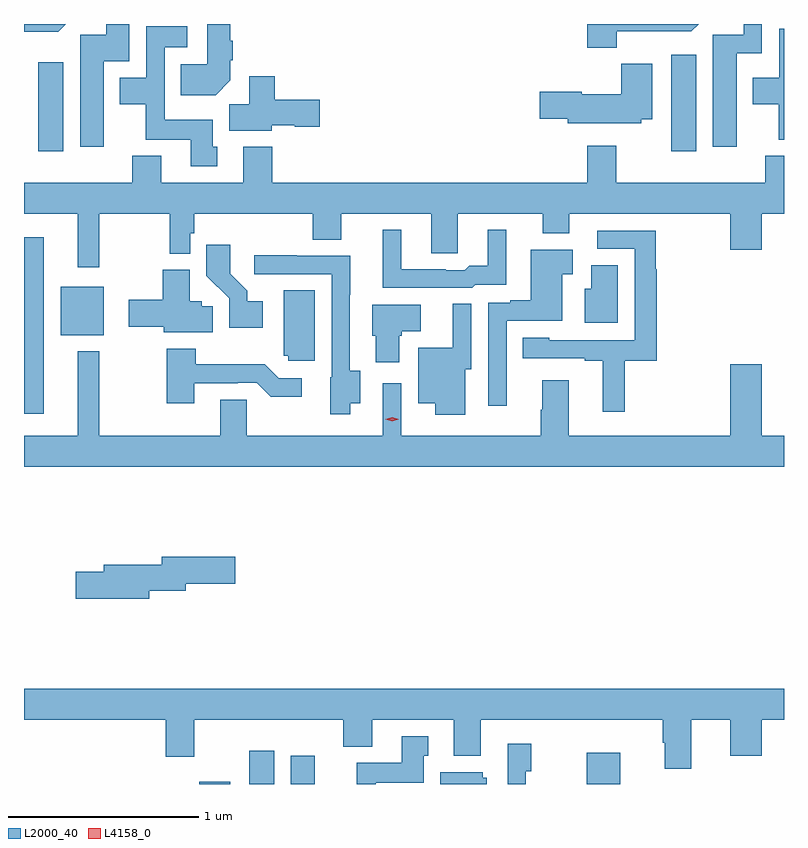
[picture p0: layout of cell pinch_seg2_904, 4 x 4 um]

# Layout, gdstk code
import gdstk
lib = gdstk.Library(unit=1e-6, precision=1e-09)
def R(c, l, rs):  # rectangles x0, y0, x1, y1
    for r in rs: c.add(gdstk.rectangle(r[:2], r[2:], *l))
def P(c, l, *ps):  # polygons
    for p in ps: c.add(gdstk.Polygon(p, *l))
L2000_40 = (2000, 40)
L4158_0 = (4158, 0)

pinch_seg2_904 = lib.new_cell('pinch_seg2_904')
R(pinch_seg2_904, L2000_40, [(593.78,629.983,593.944,629.995), (594.044,629.983,594.175,630.157), (594.263,629.983,594.388,630.133), (595.82,629.983,595.996,630.148), (593.051,632.345,593.278,632.599), (592.934,633.312,593.065,633.781), (596.264,633.312,596.395,633.82)])
P(pinch_seg2_904, L2000_40, [(596.608,633.83),(596.742,633.83),(596.742,633.983),(596.646,633.983),(596.646,633.927),(596.483,633.927),(596.483,633.336),(596.608,633.336)],
  [(593.278,633.788),(593.413,633.788),(593.413,633.983),(593.291,633.983),(593.291,633.927),(593.153,633.927),(593.153,633.336),(593.278,633.336)],
  [(593.944,633.686),(593.944,633.793),(593.957,633.793),(593.957,633.896),(593.944,633.896),(593.944,633.983),(593.822,633.983),(593.822,633.772),(593.683,633.772),(593.683,633.608),(593.866,633.608)],
  [(595.978,633.944),(596.369,633.944),(596.408,633.983),(595.823,633.983),(595.823,633.857),(595.978,633.857)],
  [(593.078,633.983),(592.858,633.983),(592.858,633.942),(593.037,633.942)],
  [(593.875,633.336),(593.851,633.336),(593.851,633.478),(593.598,633.478),(593.598,633.861),(593.716,633.861),(593.716,633.97),(593.502,633.97),(593.502,633.7),(593.363,633.7),(593.363,633.56),(593.5,633.56),(593.5,633.374),(593.735,633.374),(593.735,633.234),(593.875,633.234)],
  [(596.858,633.957),(596.832,633.957),(596.832,633.7),(596.693,633.7),(596.693,633.56),(596.83,633.56),(596.83,633.374),(596.858,633.374)],
  [(596.106,633.482),(596.164,633.482),(596.164,633.775),(596.002,633.775),(596.002,633.613),(595.794,633.613),(595.794,633.626),(595.572,633.626),(595.572,633.484),(595.721,633.484),(595.721,633.461),(596.106,633.461)],
  [(594.162,633.449),(594.282,633.449),(594.282,633.442),(594.415,633.442),(594.415,633.584),(594.179,633.584),(594.179,633.709),(594.044,633.709),(594.044,633.56),(593.939,633.56),(593.939,633.422),(594.162,633.422)],
  [(593.255,632.984),(593.625,632.984),(593.625,632.774),(593.733,632.774),(593.733,632.883),(593.753,632.883),(593.753,632.984),(594.377,632.984),(594.377,632.848),(594.529,632.848),(594.529,632.984),(595.001,632.984),(595.001,632.776),(595.141,632.776),(595.141,632.984),(595.589,632.984),(595.589,632.882),(595.729,632.882),(595.729,632.984),(596.576,632.984),(596.576,632.796),(596.74,632.796),(596.74,632.984),(596.858,632.984),(596.858,633.289),(596.759,633.289),(596.759,633.148),(595.975,633.148),(595.975,633.343),(595.823,633.343),(595.823,633.148),(594.164,633.148),(594.164,633.337),(594.011,633.337),(594.011,633.148),(593.581,633.148),(593.581,633.289),(593.429,633.289),(593.429,633.148),(592.858,633.148),(592.858,632.984),(593.141,632.984),(593.141,632.703),(593.255,632.703)],
  [(595.233,632.61),(595.396,632.61),(595.396,632.899),(595.298,632.899),(595.298,632.711),(595.202,632.711),(595.179,632.688),(595.079,632.688),(595.079,632.691),(594.844,632.691),(594.844,632.899),(594.746,632.899),(594.746,632.595),(595.218,632.595)],
  [(596.021,632.211),(596.189,632.211),(596.189,632.692),(596.182,632.692),(596.182,632.895),(595.875,632.895),(595.875,632.799),(596.073,632.799),(596.073,632.319),(595.623,632.319),(595.623,632.332),(595.483,632.332),(595.483,632.223),(595.808,632.223),(595.808,632.211),(595.904,632.211),(595.904,631.941),(596.021,631.941)],
  [(592.963,632.86),(592.859,632.86),(592.859,632.461),(592.858,632.461),(592.858,631.931),(592.963,631.931)],
  [(594.115,632.524),(594.034,632.524),(594.034,632.579),(593.944,632.669),(593.944,632.821),(593.818,632.821),(593.818,632.658),(593.937,632.539),(593.937,632.384),(594.115,632.384)],
  [(595.398,632.421),(595.69,632.421),(595.69,632.665),(595.747,632.665),(595.747,632.794),(595.526,632.794),(595.526,632.53),(595.418,632.53),(595.418,632.517),(595.302,632.517),(595.302,631.974),(595.398,631.974)],
  [(594.574,631.988),(594.628,631.988),(594.628,632.159),(594.573,632.159),(594.573,632.557),(594.574,632.557),(594.574,632.763),(594.293,632.763),(594.293,632.766),(594.069,632.766),(594.069,632.667),(594.477,632.667),(594.477,632.124),(594.47,632.124),(594.47,631.928),(594.574,631.928)],
  [(595.984,632.714),(595.844,632.714),(595.844,632.59),(595.808,632.59),(595.808,632.411),(595.984,632.411)],
  [(593.852,632.498),(593.793,632.498),(593.793,632.523),(593.731,632.523),(593.731,632.689),(593.587,632.689),(593.587,632.532),(593.409,632.532),(593.409,632.39),(593.594,632.39),(593.594,632.36),(593.852,632.36)],
  [(594.388,632.582),(594.224,632.582),(594.224,632.238),(594.249,632.238),(594.249,632.211),(594.388,632.211)],
  [(595.18,632.165),(595.212,632.165),(595.212,632.51),(595.115,632.51),(595.115,632.278),(594.932,632.278),(594.932,631.988),(595.022,631.988),(595.022,631.926),(595.18,631.926)],
  [(594.832,632.343),(594.846,632.343),(594.846,632.366),(594.946,632.366),(594.946,632.506),(594.692,632.506),(594.692,632.343),(594.71,632.343),(594.71,632.202),(594.832,632.202)],
  [(593.755,632.091),(593.984,632.091),(593.984,632.094),(594.084,632.094),(594.157,632.021),(594.319,632.021),(594.319,632.118),(594.198,632.118),(594.125,632.191),(593.763,632.191),(593.763,632.275),(593.608,632.275),(593.608,631.986),(593.755,631.986)],
  [(596.858,631.816),(596.74,631.816),(596.74,632.191),(596.576,632.191),(596.576,631.816),(595.726,631.816),(595.726,632.107),(595.586,632.107),(595.586,631.953),(595.579,631.953),(595.579,631.816),(594.844,631.816),(594.844,632.092),(594.746,632.092),(594.746,631.816),(594.03,631.816),(594.03,632.006),(593.891,632.006),(593.891,631.816),(593.255,631.816),(593.255,632.26),(593.141,632.26),(593.141,631.816),(592.858,631.816),(592.858,631.652),(596.858,631.652)],
  [(593.518,631),(593.71,631),(593.71,631.037),(593.971,631.037),(593.971,631.179),(593.582,631.179),(593.582,631.136),(593.279,631.136),(593.279,631.1),(593.13,631.1),(593.13,630.958),(593.518,630.958)],
  [(596.371,630.32),(596.576,630.32),(596.576,630.132),(596.74,630.132),(596.74,630.32),(596.858,630.32),(596.858,630.484),(592.858,630.484),(592.858,630.32),(593.603,630.32),(593.603,630.126),(593.755,630.126),(593.755,630.32),(594.539,630.32),(594.539,630.179),(594.691,630.179),(594.691,630.32),(595.121,630.32),(595.121,630.131),(595.261,630.131),(595.261,630.32),(596.219,630.32),(596.219,630.2),(596.231,630.2),(596.231,630.063),(596.371,630.063)],
  [(594.708,629.99),(594.961,629.99),(594.961,630.132),(594.985,630.132),(594.985,630.235),(594.845,630.235),(594.845,630.094),(594.61,630.094),(594.61,629.983),(594.708,629.983)],
  [(595.5,630.051),(595.527,630.051),(595.527,630.196),(595.404,630.196),(595.404,629.983),(595.5,629.983)],
  [(595.294,630.015),(595.272,630.015),(595.272,630.046),(595.049,630.046),(595.049,629.983),(595.294,629.983)])
P(pinch_seg2_904, L4158_0, [(594.796,631.893),(594.76,631.903),(594.76,631.903),(594.76,631.903),(594.796,631.913),(594.831,631.903),(594.831,631.903),(594.831,631.903)])

lib.write_gds('pinch_seg2_904.gds')
